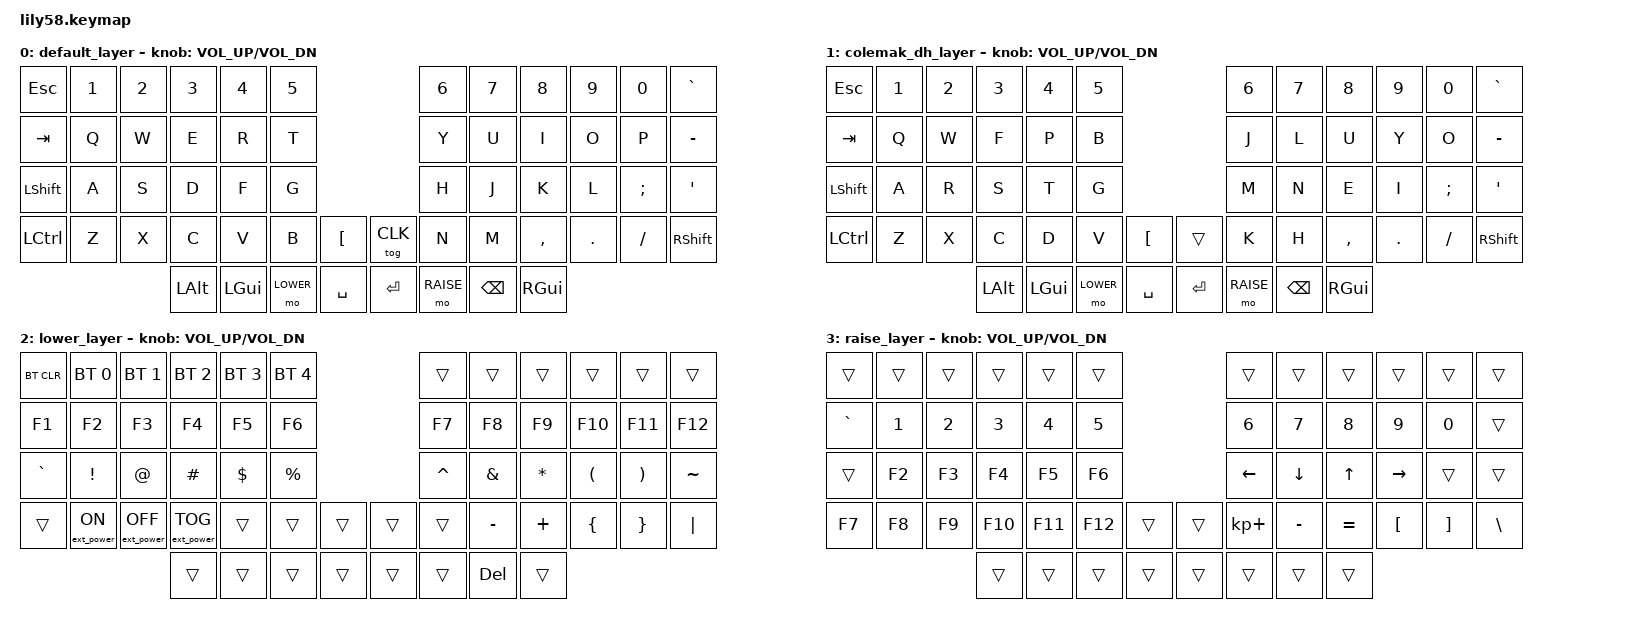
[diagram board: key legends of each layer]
/*
 * Copyright (c) 2020 The ZMK Contributors
 *
 * SPDX-License-Identifier: MIT
 */

#include <behaviors.dtsi>
#include <dt-bindings/zmk/keys.h>
#include <dt-bindings/zmk/bt.h>
#include <dt-bindings/zmk/ext_power.h>

#define DEFAULT 0
#define CLK 1
#define LOWER   2
#define RAISE   3

/ {
    keymap {
        compatible = "zmk,keymap";

        default_layer {
// ------------------------------------------------------------------------------------------------------------
// |  ESC  |  1  |  2  |  3   |  4   |  5   |                   |  6   |  7    |  8    |  9   |   0   |   `   |
// |  TAB  |  Q  |  W  |  E   |  R   |  T   |                   |  Y   |  U    |  I    |  O   |   P   |   -   |
// | SHIFT |  A  |  S  |  D   |  F   |  G   |                   |  H   |  J    |  K    |  L   |   ;   |   '   |
// | CTRL  |  Z  |  X  |  C   |  V   |  B   |   "["  |  |  CLK  |  N   |  M    |  ,    |  .   |   /   | SHIFT |
//                     | ALT  | GUI  | LOWER|  SPACE |  | ENTER | RAISE| BSPC  |  GUI  |
            bindings = <
&kp ESC   &kp N1 &kp N2 &kp N3   &kp N4   &kp N5                         &kp N6     &kp N7   &kp N8    &kp N9  &kp N0   &kp GRAVE
&kp TAB   &kp Q  &kp W  &kp E    &kp R    &kp T                          &kp Y      &kp U    &kp I     &kp O   &kp P    &kp MINUS
&kp LSHFT &kp A  &kp S  &kp D    &kp F    &kp G                          &kp H      &kp J    &kp K     &kp L   &kp SEMI &kp SQT
&kp LCTRL &kp Z  &kp X  &kp C    &kp V    &kp B      &kp LBKT   &tog CLK &kp N      &kp M    &kp COMMA &kp DOT &kp FSLH &kp RSHFT
                        &kp LALT &kp LGUI &mo LOWER  &kp SPACE  &kp  RET &mo RAISE  &kp BSPC &kp RGUI 
            >;

            sensor-bindings = <&inc_dec_kp C_VOL_UP C_VOL_DN>;
        };

        colemak_dh_layer {
// ------------------------------------------------------------------------------------------------------------
// |  ESC  |  1  |  2  |  3   |  4   |  5   |                   |  6   |  7    |  8    |  9   |   0   |   `   |
// |  TAB  |  Q  |  W  |  F   |  P   |  B   |                   |  J   |  L    |  U    |  Y   |   O   |   -   |
// | SHIFT |  A  |  R  |  S   |  T   |  G   |                   |  M   |  N    |  E    |  I   |   ;   |   '   |
// | CTRL  |  Z  |  X  |  C   |  D   |  V   |   "["  |  |  CLK  |  K   |  H    |  ,    |  .   |   /   | SHIFT |
//                     | ALT  | GUI  | LOWER|  SPACE |  | ENTER | RAISE| BSPC  | GUI   |
            bindings = <
&kp ESC   &kp N1 &kp N2 &kp N3   &kp N4   &kp N5                         &kp N6     &kp N7   &kp N8    &kp N9  &kp N0   &kp GRAVE
&kp TAB   &kp Q  &kp W  &kp F    &kp P    &kp B                          &kp J      &kp L    &kp U     &kp Y   &kp O    &kp MINUS
&kp LSHFT &kp A  &kp R  &kp S    &kp T    &kp G                          &kp M      &kp N    &kp E     &kp I   &kp SEMI &kp SQT
&kp LCTRL &kp Z  &kp X  &kp C    &kp D    &kp V      &kp LBKT   &trans   &kp K      &kp H    &kp COMMA &kp DOT &kp FSLH &kp RSHFT
                        &kp LALT &kp LGUI &mo LOWER  &kp SPACE  &kp RET  &mo RAISE  &kp BSPC &kp RGUI 
            >;

            sensor-bindings = <&inc_dec_kp C_VOL_UP C_VOL_DN>;
        };

        lower_layer {
// ------------------------------------------------------------------------------------------------------------
// | BTCLR | BT1 | BT2 |  BT3 |  BT4 |  BT5 |                   |      |       |       |      |       |       |
// |  F1   |  F2 |  F3 |  F4  |  F5  |  F6  |                   |  F7  |  F8   |  F9   |  F10 |  F11  |  F12  |
// |   `   |  !  |  @  |  #   |  $   |  %   |                   |  ^   |  &    |  *    |  (   |   )   |   ~   |
// |       |     |     |      |      |      |        |  |       |      |  _    |  +    |  {   |   }   |  "|"  |
//                     |      |      |      |        |  |       |      |  DEL  |       |
            bindings = <
&bt BT_CLR &bt BT_SEL 0     &bt BT_SEL 1      &bt BT_SEL 2      &bt BT_SEL 3 &bt BT_SEL 4                 &trans    &trans    &trans    &trans    &trans    &trans
&kp F1     &kp F2           &kp F3            &kp F4            &kp F5       &kp F6                       &kp F7    &kp F8    &kp F9    &kp F10   &kp F11   &kp F12
&kp GRAVE  &kp EXCL         &kp AT            &kp HASH          &kp DOLLAR   &kp PRCNT                    &kp CARET &kp AMPS  &kp ASTRK &kp LPAR  &kp RPAR  &kp TILDE
&trans     &ext_power EP_ON &ext_power EP_OFF &ext_power EP_TOG &trans       &trans    &trans   &trans    &trans    &kp MINUS &kp PLUS  &kp LBRC  &kp RBRC  &kp PIPE
                                              &trans            &trans       &trans    &trans   &trans    &trans    &kp DEL    &trans
            >;

            sensor-bindings = <&inc_dec_kp C_VOL_UP C_VOL_DN>;
        };

        raise_layer {
// ------------------------------------------------------------------------------------------------------------
// |       |     |     |      |      |      |                   |      |       |       |      |       |       |
// |   `   |  1  |  2  |  3   |  4   |  5   |                   |  6   |   7   |   8   |  9   |   0   |       |
// |   F1  |  F2 |  F3 |  F4  |  F5  |  F6  |                   |  <-  |   v   |   ^   |  ->  |       |       |
// |   F7  |  F8 |  F9 |  F10 |  F11 |  F12 |        |  |       |  +   |   -   |   =   |  [   |   ]   |   \   |
//                     |      |      |      |        |  |       |      |       |       |
            bindings = <
&trans    &trans &trans &trans  &trans  &trans                       &trans      &trans    &trans    &trans    &trans    &trans
&kp GRAVE &kp N1 &kp N2 &kp N3  &kp N4  &kp N5                       &kp N6      &kp N7    &kp N8    &kp N9    &kp N0    &trans
&trans    &kp F2 &kp F3 &kp F4  &kp F5  &kp F6                       &kp LEFT    &kp DOWN  &kp UP    &kp RIGHT &trans    &trans
&kp F7    &kp F8 &kp F9 &kp F10 &kp F11 &kp F12   &trans   &trans    &kp KP_PLUS &kp MINUS &kp EQUAL &kp LBKT  &kp RBKT  &kp BSLH
                        &trans  &trans  &trans    &trans   &trans    &trans      &trans    &trans
            >;

            sensor-bindings = <&inc_dec_kp C_VOL_UP C_VOL_DN>;
        };
    };
};
